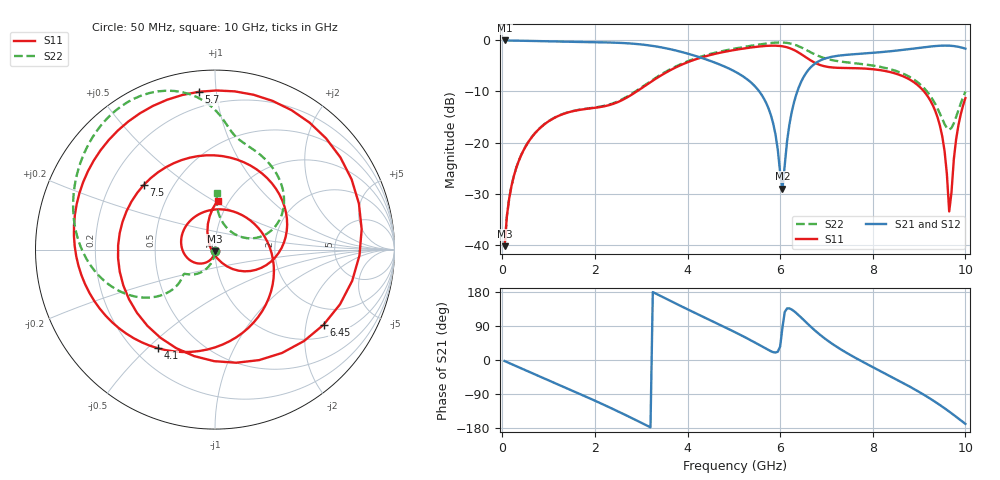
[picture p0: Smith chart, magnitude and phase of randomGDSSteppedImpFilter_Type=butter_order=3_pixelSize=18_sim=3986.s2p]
! freq	dB(S11)	phase(S11)	dB(S12)	phase(S12)
!  dB(S21)	phase(S21)	dB(S22)	phase(S22)
!S-par simulation data
#  GHz  S  DB  R 50
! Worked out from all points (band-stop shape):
!   200 points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, 50 MHz to 10 GHz, reference 50 ohm
!   highest |S21| = -0.01 dB at 50 MHz (marker M1); lowest = -29.0 dB at 6.05 GHz (marker M2)
!   |S21| within 3 dB of the highest: start of sweep to 4.16 GHz; 7.247 GHz to end of sweep
!   lowest |S11| = -40.3 dB at 50 MHz (marker M3), VSWR 1.02, Z = 49.9 - j0.963 ohm
!   |S11| at or under -10 dB: start of sweep to 2.902 GHz; 9.107 GHz to end of sweep
!   |S22| runs from -40.3 to -0.4 dB; largest |S21 - S12| = 0
!   S11 on the Smith chart (normalised r, x): 50 MHz: 1.00, -0.02; 4.1 GHz: 0.29, -0.54; 5.7 GHz: 0.11, +0.90; 6.45 GHz: 1.39, -2.53; 7.5 GHz: 0.34, +0.35; 10 GHz: 0.88, +0.52
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0.05  -40.31 -92.7  -0.01 -2.7  -0.01 -2.7  -40.28 -90.9
0.2  -28.45 -104.3  -0.02 -10.9  -0.02 -10.9  -28.42 -97.3
0.5  -20.83 -126.3  -0.07 -27.0  -0.07 -27.0  -20.80 -108.5
1.75  -13.49 132.0  -0.31 -93.7  -0.31 -93.7  -13.45 -140.6
2.7  -11.14 20.6  -0.56 -147.5  -0.56 -147.5  -10.98 -136.8
3.4  -7.01 -57.3  -1.30 170.0  -1.30 170.0  -6.83 -144.1
4.1  -3.94 -120.2  -2.84 127.8  -2.84 127.8  -3.74 -165.5
5.05  -1.81 161.7  -6.22 71.9  -6.22 71.9  -1.55 160.7
5.7  -1.07 95.8  -12.29 29.4  -12.29 29.4  -0.61 135.1
5.9  -1.03 68.8  -18.45 19.6  -18.45 19.6  -0.43 125.8
6.05  -1.15 45.0  -29.02 86.3  -29.02 86.3  -0.41 118.0
6.2  -1.50 17.8  -16.45 136.2  -16.45 136.2  -0.56 109.8
6.45  -2.67 -34.7  -8.17 112.5  -8.17 112.5  -1.34 96.9
6.7  -4.13 -90.3  -4.92 83.5  -4.92 83.5  -2.51 87.9
7.05  -5.22 -158.7  -3.34 49.0  -3.34 49.0  -3.71 81.0
7.5  -5.42 137.8  -2.77 14.3  -2.77 14.3  -4.36 72.0
8.35  -6.14 53.8  -2.15 -41.0  -2.15 -41.0  -5.57 46.5
9.35  -13.83 -36.5  -1.10 -110.6  -1.10 -110.6  -12.48 15.9
9.55  -21.65 -62.6  -1.01 -127.3  -1.01 -127.3  -16.38 29.8
9.65  -33.51 -124.2  -1.03 -136.1  -1.03 -136.1  -17.48 50.8
9.8  -19.36 113.2  -1.16 -149.7  -1.16 -149.7  -14.97 80.5
10  -11.29 87.0  -1.62 -168.6  -1.62 -168.6  -10.03 87.6
